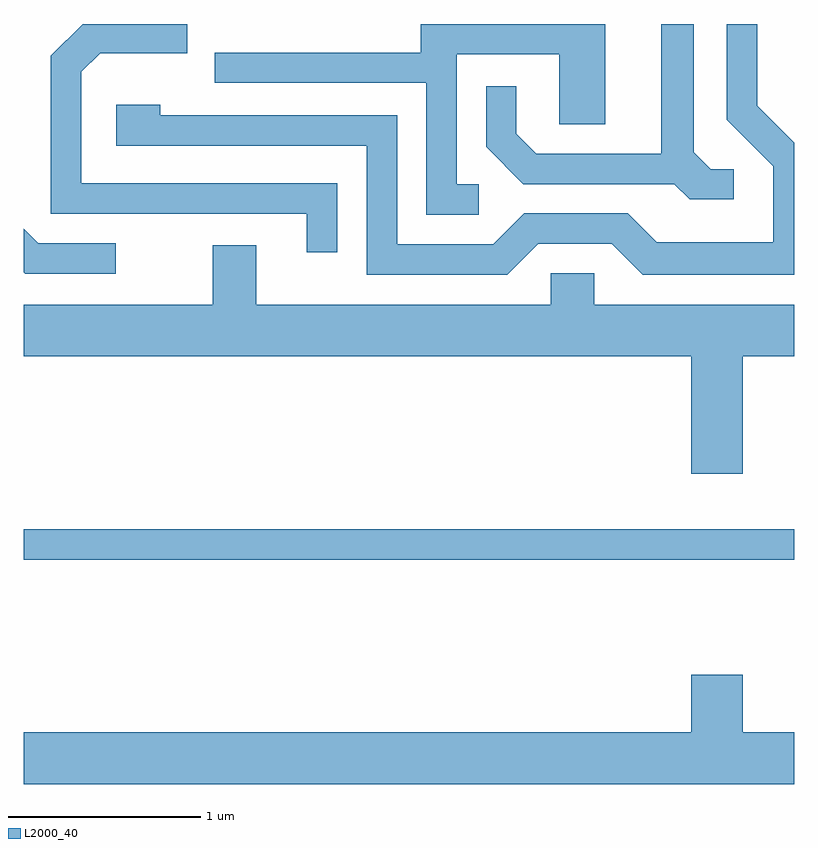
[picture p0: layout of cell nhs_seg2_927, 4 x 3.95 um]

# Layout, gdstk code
import gdstk
lib = gdstk.Library(unit=1e-6, precision=1e-09)
def R(c, l, rs):  # rectangles x0, y0, x1, y1
    for r in rs: c.add(gdstk.rectangle(r[:2], r[2:], *l))
def P(c, l, *ps):  # polygons
    for p in ps: c.add(gdstk.Polygon(p, *l))
L2000_40 = (2000, 40)

nhs_seg2_927 = lib.new_cell('nhs_seg2_927')
R(nhs_seg2_927, L2000_40, [(211.611,1065.021,215.611,1065.179)])
P(nhs_seg2_927, L2000_40, [(214.282,1066.661),(214.664,1066.661),(214.824,1066.501),(215.611,1066.501),(215.611,1067.185),(215.419,1067.377),(215.419,1067.802),(215.261,1067.802),(215.261,1067.304),(215.501,1067.064),(215.501,1066.669),(214.897,1066.669),(214.747,1066.819),(214.209,1066.819),(214.049,1066.659),(213.549,1066.659),(213.549,1067.329),(212.319,1067.329),(212.319,1067.384),(212.091,1067.384),(212.091,1067.171),(213.391,1067.171),(213.391,1066.501),(214.122,1066.501)],
  [(213.239,1066.974),(211.909,1066.974),(211.909,1067.554),(212.007,1067.651),(212.459,1067.651),(212.459,1067.802),(211.917,1067.802),(211.751,1067.637),(211.751,1066.816),(213.081,1066.816),(213.081,1066.618),(213.239,1066.618)],
  [(213.973,1066.969),(213.859,1066.969),(213.859,1067.646),(214.391,1067.646),(214.391,1067.281),(214.629,1067.281),(214.629,1067.802),(213.671,1067.802),(213.671,1067.654),(212.603,1067.654),(212.603,1067.496),(213.701,1067.496),(213.701,1066.811),(213.973,1066.811)],
  [(215.298,1067.049),(215.177,1067.049),(215.089,1067.137),(215.089,1067.802),(214.921,1067.802),(214.921,1067.129),(214.272,1067.129),(214.169,1067.232),(214.169,1067.478),(214.011,1067.478),(214.011,1067.164),(214.204,1066.971),(214.989,1066.971),(215.069,1066.891),(215.298,1066.891)],
  [(212.088,1066.664),(211.687,1066.664),(211.611,1066.74),(211.611,1066.514),(211.619,1066.506),(212.088,1066.506)],
  [(215.344,1066.076),(215.611,1066.076),(215.611,1066.344),(214.574,1066.344),(214.574,1066.509),(214.346,1066.509),(214.346,1066.344),(212.819,1066.344),(212.819,1066.654),(212.591,1066.654),(212.591,1066.344),(211.611,1066.344),(211.611,1066.076),(215.076,1066.076),(215.076,1065.466),(215.344,1065.466)],
  [(215.611,1064.124),(215.344,1064.124),(215.344,1064.424),(215.076,1064.424),(215.076,1064.124),(211.611,1064.124),(211.611,1063.856),(215.611,1063.856)])

lib.write_gds('nhs_seg2_927.gds')
